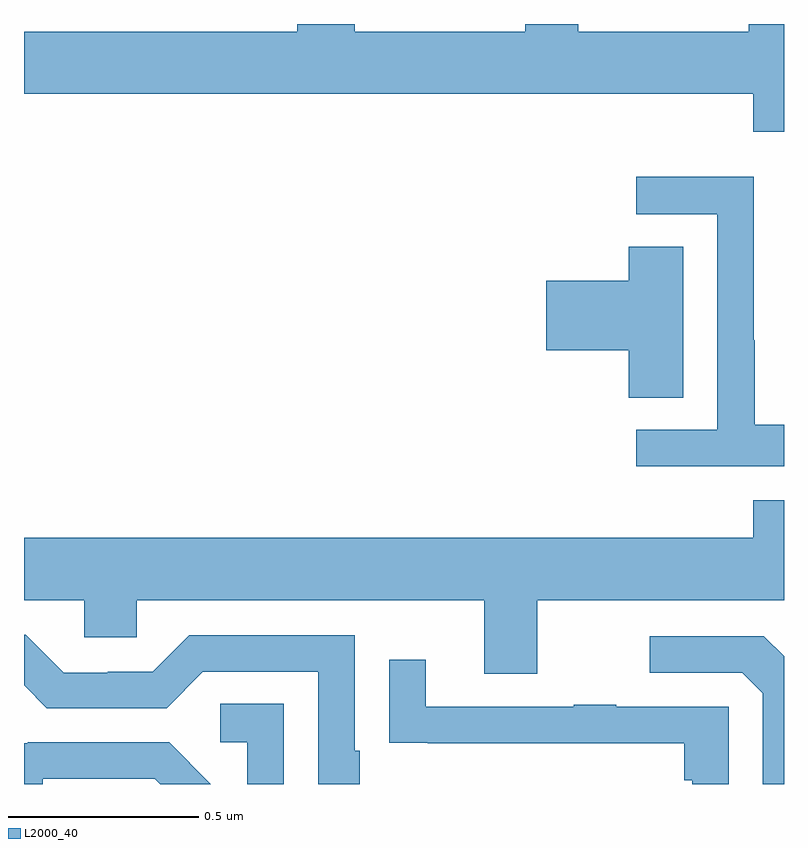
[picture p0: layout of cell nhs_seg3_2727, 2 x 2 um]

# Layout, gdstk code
import gdstk
lib = gdstk.Library(unit=1e-6, precision=1e-09)
def P(c, l, *ps):  # polygons
    for p in ps: c.add(gdstk.Polygon(p, *l))
L2000_40 = (2000, 40)

nhs_seg3_2727 = lib.new_cell('nhs_seg3_2727')
P(nhs_seg3_2727, L2000_40, [(146,734.4),(145.907,734.4),(145.907,734.38),(145.459,734.38),(145.459,734.4),(145.319,734.4),(145.319,734.38),(144.871,734.38),(144.871,734.4),(144.719,734.4),(144.719,734.38),(144,734.38),(144,734.216),(145.919,734.216),(145.919,734.117),(146,734.117)],
  [(146,733.345),(145.923,733.345),(145.923,733.568),(145.92,733.568),(145.92,733.998),(145.611,733.998),(145.611,733.899),(145.824,733.899),(145.824,733.332),(145.611,733.332),(145.611,733.236),(146,733.236)],
  [(145.735,733.814),(145.592,733.814),(145.592,733.724),(145.374,733.724),(145.374,733.541),(145.592,733.541),(145.592,733.417),(145.735,733.417)],
  [(144,732.884),(144.159,732.884),(144.159,732.786),(144.297,732.786),(144.297,732.884),(145.211,732.884),(145.211,732.69),(145.351,732.69),(145.351,732.884),(146,732.884),(146,733.147),(145.919,733.147),(145.919,733.048),(144,733.048)],
  [(144.883,732.487),(144.87,732.487),(144.87,732.792),(144.435,732.792),(144.339,732.696),(144.221,732.696),(144.221,732.693),(144.105,732.693),(144.005,732.793),(144,732.793),(144,732.66),(144.06,732.6),(144.375,732.6),(144.471,732.696),(144.774,732.696),(144.774,732.4),(144.883,732.4)],
  [(146,732.736),(145.947,732.789),(145.647,732.789),(145.647,732.693),(145.89,732.693),(145.944,732.639),(145.944,732.4),(146,732.4)],
  [(145.854,732.603),(145.559,732.603),(145.559,732.608),(145.447,732.608),(145.447,732.603),(145.057,732.603),(145.057,732.727),(144.961,732.727),(144.961,732.508),(145.063,732.508),(145.063,732.507),(145.738,732.507),(145.738,732.41),(145.758,732.41),(145.758,732.4),(145.854,732.4)],
  [(144.684,732.611),(144.516,732.611),(144.516,732.51),(144.588,732.51),(144.588,732.4),(144.684,732.4)],
  [(144.049,732.414),(144.344,732.414),(144.358,732.4),(144.492,732.4),(144.382,732.51),(144.01,732.51),(144.01,732.507),(144,732.507),(144,732.4),(144.049,732.4)])

lib.write_gds('nhs_seg3_2727.gds')
